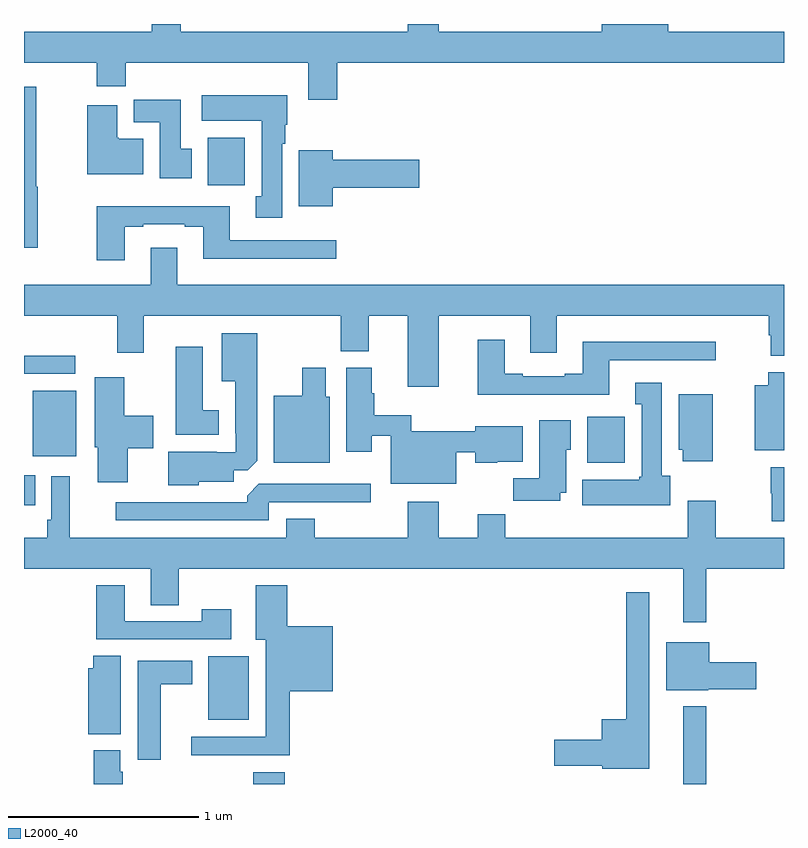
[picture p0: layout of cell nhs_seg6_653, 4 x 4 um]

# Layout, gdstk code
import gdstk
lib = gdstk.Library(unit=1e-6, precision=1e-09)
def R(c, l, rs):  # rectangles x0, y0, x1, y1
    for r in rs: c.add(gdstk.rectangle(r[:2], r[2:], *l))
def P(c, l, *ps):  # polygons
    for p in ps: c.add(gdstk.Polygon(p, *l))
L2000_40 = (2000, 40)

nhs_seg6_653 = lib.new_cell('nhs_seg6_653')
R(nhs_seg6_653, L2000_40, [(152.207,983.5,152.372,983.563), (154.469,983.5,154.591,983.908), (151.97,983.837,152.182,984.172), (151,984.968,151.058,985.126), (153.965,985.19,154.162,985.432), (151.046,985.226,151.276,985.57), (151,985.659,151.27,985.755), (151.967,986.652,152.163,986.902)])
P(nhs_seg6_653, L2000_40, [(152.648,987.296),(155,987.296),(155,987.46),(154.39,987.46),(154.39,987.5),(154.04,987.5),(154.04,987.46),(153.184,987.46),(153.184,987.5),(153.02,987.5),(153.02,987.46),(151.825,987.46),(151.825,987.5),(151.673,987.5),(151.673,987.46),(151,987.46),(151,987.296),(151.384,987.296),(151.384,987.172),(151.535,987.172),(151.535,987.296),(152.495,987.296),(152.495,987.102),(152.648,987.102)],
  [(151.072,986.644),(151.064,986.644),(151.064,987.169),(151,987.169),(151,986.322),(151.072,986.322)],
  [(152.359,986.87),(152.374,986.87),(152.374,986.97),(152.386,986.97),(152.386,987.124),(151.935,987.124),(151.935,986.99),(152.252,986.99),(152.252,986.593),(152.219,986.593),(152.219,986.481),(152.359,986.481)],
  [(151.882,986.844),(151.825,986.844),(151.825,987.102),(151.577,987.102),(151.577,986.984),(151.715,986.984),(151.715,986.688),(151.882,986.688)],
  [(151.627,986.896),(151.498,986.896),(151.498,986.902),(151.492,986.902),(151.492,987.073),(151.334,987.073),(151.334,986.708),(151.627,986.708)],
  [(152.626,986.639),(153.079,986.639),(153.079,986.786),(152.626,986.786),(152.626,986.836),(152.447,986.836),(152.447,986.54),(152.626,986.54)],
  [(151.531,986.433),(151.627,986.433),(151.627,986.445),(151.847,986.445),(151.847,986.433),(151.943,986.433),(151.943,986.264),(152.644,986.264),(152.644,986.361),(152.083,986.361),(152.083,986.542),(151.384,986.542),(151.384,986.256),(151.531,986.256)],
  [(153.184,985.964),(153.665,985.964),(153.665,985.77),(153.805,985.77),(153.805,985.964),(154.919,985.964),(154.919,985.863),(154.931,985.863),(154.931,985.753),(155,985.753),(155,986.128),(151.807,986.128),(151.807,986.323),(151.667,986.323),(151.667,986.128),(151,986.128),(151,985.964),(151.49,985.964),(151.49,985.77),(151.63,985.77),(151.63,985.964),(152.668,985.964),(152.668,985.777),(152.815,985.777),(152.815,985.964),(153.02,985.964),(153.02,985.59),(153.184,985.59)],
  [(151.92,985.091),(152.104,985.091),(152.104,985.152),(152.178,985.152),(152.227,985.201),(152.227,985.873),(152.042,985.873),(152.042,985.619),(152.111,985.619),(152.111,985.345),(152.115,985.345),(152.115,985.245),(152.015,985.245),(152.015,985.249),(151.76,985.249),(151.76,985.073),(151.92,985.073)],
  [(154.081,985.731),(154.642,985.731),(154.642,985.828),(153.941,985.828),(153.941,985.66),(153.845,985.66),(153.845,985.647),(153.625,985.647),(153.625,985.66),(153.529,985.66),(153.529,985.837),(153.389,985.837),(153.389,985.55),(154.081,985.55)],
  [(152.026,985.468),(151.942,985.468),(151.942,985.801),(151.799,985.801),(151.799,985.337),(152.026,985.337)],
  [(153.274,985.245),(153.374,985.245),(153.374,985.19),(153.492,985.19),(153.492,985.196),(153.625,985.196),(153.625,985.384),(153.374,985.384),(153.374,985.356),(153.039,985.356),(153.039,985.441),(152.843,985.441),(152.843,985.556),(152.83,985.556),(152.83,985.692),(152.696,985.692),(152.696,985.248),(152.83,985.248),(152.83,985.332),(152.93,985.332),(152.93,985.079),(153.274,985.079)],
  [(152.608,985.539),(152.587,985.539),(152.587,985.69),(152.465,985.69),(152.465,985.543),(152.315,985.543),(152.315,985.19),(152.608,985.19)],
  [(155,985.668),(154.916,985.668),(154.916,985.6),(154.847,985.6),(154.847,985.256),(155,985.256)],
  [(151.546,985.268),(151.681,985.268),(151.681,985.437),(151.528,985.437),(151.528,985.642),(151.373,985.642),(151.373,985.272),(151.388,985.272),(151.388,985.089),(151.546,985.089)],
  [(154.402,985.122),(154.357,985.122),(154.357,985.612),(154.217,985.612),(154.217,985.499),(154.25,985.499),(154.25,985.116),(154.237,985.116),(154.237,985.102),(153.938,985.102),(153.938,984.968),(154.402,984.968)],
  [(154.624,985.552),(154.445,985.552),(154.445,985.26),(154.466,985.26),(154.466,985.2),(154.624,985.2)],
  [(153.823,985.034),(153.853,985.034),(153.853,985.26),(153.877,985.26),(153.877,985.414),(153.713,985.414),(153.713,985.108),(153.574,985.108),(153.574,984.99),(153.823,984.99)],
  [(155,985.167),(154.931,985.167),(154.931,985.029),(154.936,985.029),(154.936,984.882),(155,984.882)],
  [(152.289,984.984),(152.824,984.984),(152.824,985.08),(152.235,985.08),(152.174,985.018),(152.174,984.984),(151.482,984.984),(151.482,984.888),(152.289,984.888)],
  [(154.493,984.991),(154.493,984.796),(153.533,984.796),(153.533,984.92),(153.389,984.92),(153.389,984.796),(153.184,984.796),(153.184,984.985),(153.02,984.985),(153.02,984.796),(152.529,984.796),(152.529,984.895),(152.381,984.895),(152.381,984.796),(151.242,984.796),(151.242,985.12),(151.143,985.12),(151.143,984.892),(151.123,984.892),(151.123,984.796),(151,984.796),(151,984.632),(151.667,984.632),(151.667,984.442),(151.815,984.442),(151.815,984.632),(154.469,984.632),(154.469,984.351),(154.591,984.351),(154.591,984.632),(155,984.632),(155,984.796),(154.641,984.796),(154.641,984.991)],
  [(152.092,984.421),(151.936,984.421),(151.936,984.357),(151.531,984.357),(151.531,984.547),(151.379,984.547),(151.379,984.261),(152.092,984.261)],
  [(152.399,983.987),(152.626,983.987),(152.626,984.331),(152.386,984.331),(152.386,984.547),(152.219,984.547),(152.219,984.26),(152.273,984.26),(152.273,983.748),(151.881,983.748),(151.881,983.651),(152.399,983.651)],
  [(154.291,984.508),(154.17,984.508),(154.17,983.842),(154.04,983.842),(154.04,983.732),(153.792,983.732),(153.792,983.597),(154.044,983.597),(154.044,983.579),(154.291,983.579)],
  [(154.602,983.999),(154.855,983.999),(154.855,984.141),(154.606,984.141),(154.606,984.247),(154.379,984.247),(154.379,983.993),(154.602,983.993)],
  [(151.51,984.176),(151.364,984.176),(151.364,984.109),(151.337,984.109),(151.337,983.762),(151.51,983.762)],
  [(151.72,984.026),(151.885,984.026),(151.885,984.148),(151.598,984.148),(151.598,983.628),(151.72,983.628)],
  [(151.52,983.565),(151.507,983.565),(151.507,983.677),(151.367,983.677),(151.367,983.5),(151.52,983.5)])

lib.write_gds('nhs_seg6_653.gds')
